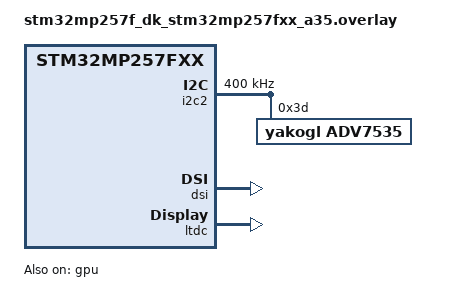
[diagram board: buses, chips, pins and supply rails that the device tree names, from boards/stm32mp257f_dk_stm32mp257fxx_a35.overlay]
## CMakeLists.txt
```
# SPDX-License-Identifier: Apache-2.0
# SPDX-FileCopyrightText: 2026 Signal Slot, Inc.
# mp2_gpu_scanout: the STM32MP257F-DK's GPU-rendered frame on its HDMI
# (README.md). gc_triangle's clear, triangle and three-apex read-back at the
# display mode's size, the resolve engine's copy into a linear XRGB8888
# buffer, and that buffer as the LTDC's layer (LTDC -> DSI -> ADV7535 -> HDMI).
#
#   west build -p always -b stm32mp257f_dk/stm32mp257fxx/a35 -d build/mp2_gpu_scanout \
#     tools/probes/stm32mp257f_dk/mp2_gpu_scanout
cmake_minimum_required(VERSION 3.20.0)

# driver/ is a Zephyr module (the SoC, the board, the board layer, the GPU
# and display drivers). The overlay boards/stm32mp257f_dk_stm32mp257fxx_a35.overlay
# is picked up by name.
get_filename_component(PVR_REPO "${CMAKE_CURRENT_SOURCE_DIR}/../../../../driver" ABSOLUTE)
list(APPEND ZEPHYR_EXTRA_MODULES "${PVR_REPO}")

find_package(Zephyr REQUIRED HINTS $ENV{ZEPHYR_BASE})
project(mp2_gpu_scanout)

# The build prints its own commit first (a result row names its build).
execute_process(COMMAND git -C "${PVR_REPO}" describe --always --dirty
                OUTPUT_VARIABLE MP2_GPU_SCANOUT_BUILD OUTPUT_STRIP_TRAILING_WHITESPACE
                ERROR_QUIET RESULT_VARIABLE describe_rc)
if(NOT describe_rc EQUAL 0 OR MP2_GPU_SCANOUT_BUILD STREQUAL "")
  set(MP2_GPU_SCANOUT_BUILD "unknown")
endif()
target_compile_definitions(app PRIVATE MP2_GPU_SCANOUT_BUILD="${MP2_GPU_SCANOUT_BUILD}")
message(STATUS "mp2_gpu_scanout build: ${MP2_GPU_SCANOUT_BUILD}")

# The GPU driver (src/vivante behind gpu_vivante_gc_rust.c) comes with the
# overlay's &gpu; the display chain with its ltdc, dsi, i2c2 and adv7535.
if(NOT CONFIG_YAKOGL_DRV_GPU_VIVANTE)
  message(FATAL_ERROR "mp2_gpu_scanout: CONFIG_YAKOGL_DRV_GPU_VIVANTE is off (no vivante,gc node)")
endif()
if(NOT CONFIG_YAKOGL_STM32MP2_DISPLAY)
  message(FATAL_ERROR "mp2_gpu_scanout: CONFIG_YAKOGL_STM32MP2_DISPLAY is off (the display path is not powered)")
endif()

target_sources(app PRIVATE src/main.c)

# Zero warnings in our C files with -DYAKOGL_WERROR=ON; off by default.
if(YAKOGL_WERROR)
  target_compile_options(app PRIVATE -Werror)
endif()
```

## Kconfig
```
# SPDX-License-Identifier: Apache-2.0
# SPDX-FileCopyrightText: 2026 Signal Slot, Inc.

config MP2_GPU_SCANOUT_HOLD_S
	int "Seconds the picture is held after the verdict line"
	default 60
	range 0 600
	help
	  After the PASS or FAIL line the probe keeps the scan-out running this
	  long before main() returns, so the runner's MP2_HOLD_S and the KVM
	  can see the picture. The board layer's lifetime
	  (CONFIG_YAKOGL_STM32MP2_LIFETIME_S) must cover it.

config MP2_GPU_SCANOUT_WAIT_MS
	int "Bound on the wait for each GPU fence, ms"
	default 1000
	range 1 10000
	help
	  gc_render_wait()'s bound, as gc_triangle's GC_TRIANGLE_WAIT_MS.
	  Past it the render service dumps the GPU's state and the run fails.

source "Kconfig.zephyr"
```

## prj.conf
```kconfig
# SPDX-License-Identifier: Apache-2.0
# SPDX-FileCopyrightText: 2026 Signal Slot, Inc.
# The board defconfig has the console; the board layer (stm32mp2.c) prints
# the banner and the hand-over record and resets through PSCI at the end;
# stm32mp2_wdog.c arms OP-TEE's watchdog at boot and pets it.
CONFIG_PRINTK=y
CONFIG_EARLY_CONSOLE=y
CONFIG_LOG=y
CONFIG_LOG_MODE_MINIMAL=y
CONFIG_CACHE_MANAGEMENT=y
CONFIG_YAKOGL_STM32MP2_WDOG=y

# The GPU: the Vivante driver on the overlay's &gpu, powered by the board
# layer (gc_power_mp2.c), as the board layer's app.conf has it for
# gc_triangle. FPU sharing off for the reason app.conf gives (printk from an
# interrupt handler with the FPU disabled in exception context).
CONFIG_YAKOGL_DRV_GPU_VIVANTE=y
CONFIG_FPU_SHARING=n

# The display path: the four drivers are enabled by the overlay's nodes.
CONFIG_DISPLAY=y
CONFIG_I2C=y
CONFIG_MIPI_DSI=y
CONFIG_GPIO=y

# A thread that overruns its stack is named at its next context switch
# ("Stack sentinel"), not later as a corrupted neighbour: board-display2's
# EC 0xe after "adv7535: chip revision 0x14" was the main stack running into
# the idle thread's initial frame (the board layer's MAIN_STACK_SIZE default,
# driver/zephyr/lib/board/stm32mp2/Kconfig).
CONFIG_STACK_SENTINEL=y

# The layer resets the board this long after boot; the probe holds the
# picture CONFIG_MP2_GPU_SCANOUT_HOLD_S (60) after its verdict, so it must be
# well beyond that.
CONFIG_YAKOGL_STM32MP2_LIFETIME_S=150
```

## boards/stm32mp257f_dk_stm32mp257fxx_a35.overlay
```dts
/*
 * SPDX-License-Identifier: Apache-2.0
 * SPDX-FileCopyrightText: 2026 Signal Slot, Inc.
 *
 * mp2_gpu_scanout: the GPU and the DK's display path. The display nodes are
 * mp2_display's overlay unchanged (LTDC -> DSI -> ADV7535 -> HDMI as yakogl
 * devices); &gpu is the board layer's app.overlay for gc_triangle
 * (driver/zephyr/lib/board/stm32mp2/app.overlay). The probe's own overlay:
 * the board and SoC files stay without it.
 *
 *   &gpu     the SoC's vivante,gc node (0x48280000, SPI 183) with the
 *            board's 64 MiB no-map gpu-reserved carveout at 0xfa800000
 *            (RISAF4 region 10, non-secure, CID0/1 r/w): the scanned-out
 *            buffer is allocated there (gc_render_alloc), not in ltdc_fb
 *   &i2c2   stm32mp251.dtsi:935-936 (0x40130000), the bus of the bridge
 *            (stm32mp257f-dk.dts:395)
 *   adv7535  stm32mp257f-dk.dts:428-433: reg 0x3d with the secondary maps
 *            0x3f (edid), 0x3c (cec), 0x38 (packet), four DSI lanes
 *   dsi      stm32mp255.dtsi:123-133 (0x48000000), its output to the bridge
 *            (stm32mp257f-dk.dts:328-350)
 *   ltdc     stm32mp251.dtsi:2150 (0x48010000), its output to the DSI
 *            (stm32mp257f-dk.dts:536-547)
 *   ltdc_fb  the frame buffer, 0xb0000000, 32 MiB no-map: past the image's
 *            load end, inside RISAF4 region 9 (non-secure, CID0/1 r/w),
 *            below 4 GiB (docs/notes/stm32mp257f-dk-display-bringup.md,
 *            "Where the image lives and the proposed framebuffer"); the
 *            driver's own buffer, scanned out until the probe flips to the
 *            GPU's (stm32_ltdc_set_fb)
 *
 * The clocks are what the board layer's power-on sets and reads back
 * (display_power_mp2.c over soc::stm32mp2::display): ck_ker_i2c2 is
 * FLEXGEN_12 at 100 MHz, the DSI PHY reference FLEXGEN_28 at 27 MHz, the
 * LTDC's pixel clock FLEXGEN_27 at the chosen mode's rate.
 *
 * Left out, on purpose:
 *   - the bridge's INT (GPIO B4) and reset (GPIO B6) lines
 *     (stm32mp257f-dk.dts:436-438): the board layer configures both pins and
 *     pulses the reset; no GPIO controller in this tree, the HPD is read
 *     from the chip.
 *   - interrupts of the LTDC (frames and flips are polled).
 */

/ {
	chosen {
		yakogl,ltdc-fb = &ltdc_fb;
	};

	reserved-memory {
		ltdc_fb: framebuffer@b0000000 {
			reg = <0xb0000000 DT_SIZE_M(32)>;
			no-map;
		};
	};

	soc {
		i2c2: i2c@40130000 {
			compatible = "yakogl,stm32mp2-i2c";
			reg = <0x40130000 0x400>;
			#address-cells = <1>;
			#size-cells = <0>;
			clock-frequency = <400000>;
			kernel-clock-frequency = <100000000>;
			status = "okay";

			adv7535: hdmi@3d {
				compatible = "yakogl,adv7535";
				reg = <0x3d>;
				edid-reg = <0x3f>;
				cec-reg = <0x3c>;
				packet-reg = <0x38>;
				adi,dsi-lanes = <4>;
				status = "okay";
			};
		};

		dsi: dsi@48000000 {
			compatible = "yakogl,stm32-dsi";
			reg = <0x48000000 0x800>;
			data-lanes = <4>;
			bridge = <&adv7535>;
			pll-ref-frequency = <27000000>;
			/* the LTDC driver sets the chosen mode's (stm32_dsi_set_mode) */
			pixel-clock-frequency = <148500000>;
			status = "okay";
		};

		/* hactive x vactive: the largest mode the driver may choose,
		 * 1920x1080@60 when the EDID prefers it, else 1280x720@60; one
		 * 1080p XRGB8888 frame (pitch 7680) fits fb-size. */
		ltdc: display-controller@48010000 {
			compatible = "yakogl,stm32-ltdc";
			reg = <0x48010000 0x400>;
			hactive = <1920>;
			vactive = <1080>;
			pixel-format = "argb8888";
			fb-size = <0x800000>;
			dsi-host = <&dsi>;
			status = "okay";
		};
	};
};

/* The GPU, as the board layer's app.overlay has it for gc_triangle: the core
 * clock's rate only sizes the front end's idle-loop WAIT. */
&gpu {
	clock-frequency = <800000000>;
	status = "okay";
};
```

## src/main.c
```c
/* SPDX-License-Identifier: Apache-2.0 */
/* SPDX-FileCopyrightText: 2026 Signal Slot, Inc. */
/*
 * mp2_gpu_scanout: a GPU-rendered frame on the DK's HDMI. gc_triangle's
 * bring-up and draw (driver/samples/zephyr/gc_triangle: the GPU device,
 * gc_render_init, gc_draw_clear to 0x00102030, one Gouraud triangle, the
 * three-apex CPU read-back), at the display mode's size, then its "linear
 * scan-out copy" (gc_draw_copy, the resolve engine) into a linear XRGB8888
 * buffer from gc_render_alloc, and that buffer as the LTDC's layer.
 *
 * The order:
 *   1. the LTDC device (display_yakogl_stm32_ltdc.c, the chain owner)
 *      chooses the mode (display_get_capabilities: HPD and EDID through the
 *      ADV7535; 1920x1080@60 when the EDID prefers it, else 1280x720@60);
 *   2. the GPU draws a W x H target (the mode's size), the CPU checks it
 *      (gc_triangle's lines);
 *   3. the resolve engine copies it into the scan-out buffer, W x H at
 *      ROUND_UP(W * 4, 64), 4096-aligned in the GPU carveout, and the same
 *      checks run on the copy, with every pixel compared to the target;
 *   4. the buffer's range is cleaned (gc_render_cache_flush), its physical
 *      range checked against the LTDC's RIF/RISAF (stm32_ltdc_board_fb_check),
 *      the chain brought up (display_blanking_off: LTDC, DSI, ADV7535) and the
 *      layer flipped to bo.phys (stm32_ltdc_set_fb, which waits for the
 *      reload);
 *   5. the scan-out check (stm32_ltdc_scanout_check) over
 *      MP2_GPU_SCANOUT_FRAMES frames: that many frame events (ISR.LIF or the
 *      CPSR wrap), the layer's address (the GPU buffer's bo.phys) and enable
 *      read back after the reload and after the last frame, and no FUWIF,
 *      FUIF, TERRIF or FURIF in any event's ISR. Its record is always
 *      printed ("mp2_gpu_scanout: scanout: ..."; "errors: unobservable" when
 *      no RRIF came after the control reload: not a failure) and a failed
 *      check prints "scanout: check frames|layer|errors|control failed" and
 *      FAIL step scanout-frames|-layer|-errors|-control;
 *   6. the LTDC's frame CRC, a logged diagnostic only
 *      (stm32_ltdc_crc_enable, stm32_ltdc_frame_crc_event): "mp2_gpu_scanout:
 *      crc: <what> 0x<crc> line <cypos> via <wrap|lif>" for four reads of the
 *      unchanged buffer, one with the corner pixel (0,0) inverted (cleaned to
 *      memory), one restored, then "crc: diagnostic: stable <y|n> changed
 *      <y|n> restored <y|n>" or "crc: unavailable" (-ENODEV). It gates
 *      nothing: the CRC did not follow the picture on this path (the note's
 *      "CRC and frame wait").
 *
 * Why the format and the address need no conversion: the PE's X8R8G8B8 is
 * the word 0x00RRGGBB, the LTDC's format 0 (ARGB8888, constant alpha) reads
 * it unchanged, the pitch is the LTDC driver's (64-byte aligned), and bo.phys
 * is in RISAF4 region 10, below 4 GiB (docs/notes/stm32mp257f-dk-display-
 * bringup.md, "GPU buffer format" and "Cache maintenance" (3)).
 *
 * The verdict, in tools/board-stm32mp2.sh's "<prog>: PASS|FAIL: " shape:
 *   mp2_gpu_scanout: PASS: <w>x<h> pitch <p> phys 0x... <n> frames
 *   mp2_gpu_scanout: FAIL: <reason> [<err>]
 * PASS only when the read-back succeeded, the flip read back the scanned
 * address and the scan-out check returned 0 with no failed bit. Then the
 * scan-out is kept CONFIG_MP2_GPU_SCANOUT_HOLD_S seconds (one frame checked a
 * second) for the runner's MP2_HOLD_S and the KVM. The board layer
 * (stm32mp2.c) resets the board through PSCI at its lifetime.
 *
 * Only the CPU reads pixels: the GPU's 0x800+ state space is never read
 * (driver/docs/vivante-kernel-rust.md).
 */
#include <zephyr/kernel.h>
#include <zephyr/device.h>
#include <zephyr/devicetree.h>
#include <zephyr/drivers/display.h>
#include <zephyr/sys/printk.h>
#include <zephyr/sys/util.h>
#include <errno.h>

#include <yakogl_mp25_display.h>
#include <yakogl_drv/adv7535.h>
#include <yakogl_drv/stm32_dsi.h>
#include <yakogl_drv/stm32_ltdc.h>

#include <gc.h>
#include <gc_render.h>
#include <gc_draw.h>

#define NAME "mp2_gpu_scanout"

#define LTDC_NODE DT_NODELABEL(ltdc)
#define DSI_NODE  DT_PHANDLE(LTDC_NODE, dsi_host)
#define ADV_NODE  DT_PHANDLE(DSI_NODE, bridge)

BUILD_ASSERT(DT_NODE_HAS_STATUS_OKAY(LTDC_NODE), "the overlay enables the ltdc node");
BUILD_ASSERT(CONFIG_MP2_GPU_SCANOUT_HOLD_S + 30 < CONFIG_YAKOGL_STM32MP2_LIFETIME_S,
	     "the board layer's lifetime covers the draw and the hold");

/* Frame events the scan-out check must count before PASS: one second at 60 Hz. */
#define MP2_GPU_SCANOUT_FRAMES 60

/* gc_triangle's picture and checks (driver/samples/zephyr/gc_triangle/src/main.c). */
#define GUARD_ROWS 2u
#define POISON 0x00a55a3cu
#define BACKGROUND 0x00102030u
#define INSET 0.10f
#define EDGE_MARGIN 3
#define AREA_TOLERANCE 0.20f
#define DOMINANT_MIN 0xc0u
#define OTHER_MAX 0x40u
/* The pixel engine's and the LTDC driver's line alignment. */
#define PITCH_ALIGN 64u
/* gc_triangle's allocation of the scan-out buffer. */
#define OUT_ALIGN 4096u

/* gc_triangle's triangle in clip space (x right, y up): red at the top,
 * green bottom left, blue bottom right. Full screen, it lands at (0.5, 0.1),
 * (0.1, 0.9), (0.9, 0.9) of the width and height. */
static const struct gc_vertex s_tri[3] = {
	{ .pos = { 0.0f, 0.8f, 0.0f, 1.0f }, .color = { 1.0f, 0.0f, 0.0f, 1.0f } },
	{ .pos = { -0.8f, -0.8f, 0.0f, 1.0f }, .color = { 0.0f, 1.0f, 0.0f, 1.0f } },
	{ .pos = { 0.8f, -0.8f, 0.0f, 1.0f }, .color = { 0.0f, 0.0f, 1.0f, 1.0f } },
};

/* The drawn window: the mode's size, both buffers. */
static uint32_t s_w, s_h;
static struct gc_target s_target;

static int fail(const char *reason, int err)
{
	printk(NAME ": FAIL: %s %d\n", reason, err);
	return err != 0 ? err : -EIO;
}

static int wait_fence(uint32_t fence)
{
	int rc = gc_render_wait(fence, CONFIG_MP2_GPU_SCANOUT_WAIT_MS);

	if (rc) {
		gc_render_stall_dump(NAME " failed");
	}
	return rc;
}

static float px_x(float cx)
{
	return (cx + 1.0f) * 0.5f * (float)s_w;
}

static float px_y(float cy)
{
	return (1.0f - cy) * 0.5f * (float)s_h;
}

static uint32_t chan(uint32_t rgb, unsigned int shift)
{
	return (rgb >> shift) & 0xffu;
}

/* gc_triangle's check_apex: the pixel `own` (0 red, 1 green, 2 blue) is
 * dominated by its own channel. Returns 1 when it fails. */
static int check_apex(const struct gc_target *t, const char *pfx, const char *what,
		      unsigned int own, float x, float y)
{
	uint32_t px = (uint32_t)CLAMP((int)x, 0, (int)s_w - 1);
	uint32_t py = (uint32_t)CLAMP((int)y, 0, (int)s_h - 1);
	uint32_t v = gc_target_pixel(t, px, py);
	uint32_t mine = chan(v, 16u - 8u * own);
	bool ok = mine >= DOMINANT_MIN;

	for (unsigned int c = 0; c < 3u; c++) {
		if (c != own && chan(v, 16u - 8u * c) > OTHER_MAX) {
			ok = false;
		}
	}
	printk(NAME ": %s%-10s %s (%u,%u) = %08x\n", pfx, what, ok ? "PASS" : "FAIL", px, py,
	       (v << 8) | 0xffu);
	return ok ? 0 : 1;
}

/* gc_triangle's check_picture over the s_w x s_h window of `t` and `rows`
 * rows (the guard rows after it must hold the poison). Returns the failing
 * checks; *covered_out the pixels that differ from the background. */
static uint32_t check_picture(const struct gc_target *t, uint32_t rows, const char *pfx,
			      uint32_t *covered_out)
{
	uint32_t failing = 0, covered = 0, outside_wrong = 0;
	const float rx = px_x(s_tri[0].pos[0]), ry = px_y(s_tri[0].pos[1]);
	const float gx = px_x(s_tri[1].pos[0]), gy = px_y(s_tri[1].pos[1]);
	const float bx = px_x(s_tri[2].pos[0]), by = px_y(s_tri[2].pos[1]);
	const float cx = (rx + gx + bx) / 3.0f, cy = (ry + gy + by) / 3.0f;

	failing += check_apex(t, pfx, "red apex", 0, rx + (cx - rx) * INSET,
			      ry + (cy - ry) * INSET);
	failing += check_apex(t, pfx, "green left", 1, gx + (cx - gx) * INSET,
			      gy + (cy - gy) * INSET);
	failing += check_apex(t, pfx, "blue right", 2, bx + (cx - bx) * INSET,
			      by + (cy - by) * INSET);

	const int x0 = (int)gx - EDGE_MARGIN, x1 = (int)bx + EDGE_MARGIN;
	const int y0 = (int)ry - EDGE_MARGIN, y1 = (int)gy + EDGE_MARGIN;
	uint32_t first_x = 0, first_y = 0, first_v = 0;

	for (uint32_t y = 0; y < rows; y++) {
		const volatile uint32_t *r =
			(const volatile uint32_t *)((uint8_t *)t->cpu + (size_t)y * t->stride);

		for (uint32_t x = 0; x < s_w; x++) {
			uint32_t v = r[x] & 0x00ffffffu;
			bool drawn = y < s_h;
			bool must_be_bg = drawn && ((int)x < x0 || (int)x > x1 || (int)y < y0 ||
						    (int)y > y1);

			if (drawn && v != BACKGROUND) {
				covered++;
			}
			if ((!drawn && v != POISON) || (must_be_bg && v != BACKGROUND)) {
				if (outside_wrong == 0u) {
					first_x = x;
					first_y = y;
					first_v = v;
				}
				outside_wrong++;
			}
		}
	}
	if (outside_wrong != 0u) {
		printk(NAME ": %soutside     FAIL (%u,%u) = %06x (%u wrong pixels)\n", pfx,
		       first_x, first_y, first_v, outside_wrong);
		failing++;
	} else {
		printk(NAME ": %soutside     PASS (background kept outside the box and in the guard rows)\n",
		       pfx);
	}

	float area = 0.5f * (bx - gx) * (gy - ry);
	float lo = area * (1.0f - AREA_TOLERANCE), hi = area * (1.0f + AREA_TOLERANCE);
	bool area_ok = (float)covered >= lo && (float)covered <= hi;

	printk(NAME ": %scovered     %s %u pixels (%u..%u expected)\n", pfx,
	       area_ok ? "PASS" : "FAIL", covered, (uint32_t)lo, (uint32_t)hi);
	if (!area_ok) {
		failing++;
	}
	*covered_out = covered;
	return failing;
}

/* Poison `rows` rows of `t` from row `from`, then clean them to DDR. */
static void poison_rows(const struct gc_target *t, uint32_t from, uint32_t rows)
{
	for (uint32_t y = from; y < from + rows; y++) {
		volatile uint32_t *r =
			(volatile uint32_t *)((uint8_t *)t->cpu + (size_t)y * t->stride);

		for (uint32_t x = 0; x < t->stride / 4u; x++) {
			r[x] = POISON;
		}
	}
	gc_render_cache_flush((uint8_t *)t->cpu + (size_t)from * t->stride,
			      (size_t)rows * t->stride);
}

/*
 * The GPU half: gc_triangle's bring-up, clear, triangle and read-back into
 * s_target, then its linear copy into *out (from gc_render_alloc, s_w x s_h
 * at `pitch`, two poisoned guard rows after it) and the checks on the copy.
 * 0 when every check passed, else the negative errno after the FAIL line.
 */
static int render(uint32_t pitch, struct gc_target *out, struct gc_bo *out_bo)
{
	const struct device *gpu = DEVICE_DT_GET_ONE(vivante_gc);
	const struct gc_identity *id;
	const size_t tbytes = (size_t)pitch * (s_h + GUARD_ROWS);
	struct gc_bo bo;
	uint32_t fence = 0, failing, covered = 0, differ = 0;
	int rc;

	if (!device_is_ready(gpu) || !gc_alive(gpu)) {
		return fail("gpu-device", -ENODEV);
	}
	id = gc_identity(gpu);
	printk(NAME ": GPU model 0x%x revision 0x%x product 0x%x customer 0x%x eco %u%s\n",
	       id->model, id->revision, id->product_id, id->customer_id, id->eco_id,
	       id->from_table ? " (features from the table)" : "");
	rc = gc_render_init(gpu);
	if (rc) {
		return fail("gpu-render-init", rc);
	}

	/* The render target, the mode's size, linear at the pixel engine's
	 * 64-byte stride, with gc_triangle's guard rows. */
	rc = gc_render_alloc(tbytes, 64, &bo);
	if (rc == 0 && bo.cpu == NULL) {
		rc = -EFAULT;
	}
	if (rc) {
		return fail("gpu-alloc", rc);
	}
	s_target = (struct gc_target){
		.gpu = bo.gpu, .width = s_w, .height = s_h, .stride = pitch, .cpu = bo.cpu,
	};
	printk(NAME ": target %ux%u stride %u at GPU 0x%08x\n", s_w, s_h, pitch, s_target.gpu);
	poison_rows(&s_target, s_h, GUARD_ROWS);

	rc = gc_draw_clear(&s_target, BACKGROUND, &fence);
	if (rc) {
		return fail("gpu-clear", rc);
	}
	rc = wait_fence(fence);
	if (rc) {
		return fail("gpu-wait-clear", rc);
	}
	rc = gc_draw_triangle(&s_target, s_tri, &fence);
	if (rc) {
		return fail("gpu-triangle", rc);
	}
	rc = wait_fence(fence);
	if (rc) {
		return fail("gpu-wait-triangle", rc);
	}
	gc_render_cache_invd(s_target.cpu, tbytes);
	failing = check_picture(&s_target, s_h + GUARD_ROWS, "", &covered);

	/* gc_triangle's linear scan-out copy, at the same size: the buffer the
	 * LTDC scans. Poisoned first, so a pixel the copy missed shows. */
	rc = gc_render_alloc(tbytes, OUT_ALIGN, out_bo);
	if (rc == 0 && out_bo->cpu == NULL) {
		rc = -EFAULT;
	}
	if (rc) {
		return fail("linear-alloc", rc);
	}
	*out = (struct gc_target){
		.gpu = out_bo->gpu, .width = s_w, .height = s_h, .stride = pitch,
		.cpu = out_bo->cpu,
	};
	poison_rows(out, 0, s_h + GUARD_ROWS);
	rc = gc_draw_copy(&s_target, out, &fence);
	if (rc) {
		return fail("linear-copy", rc);
	}
	rc = wait_fence(fence);
	if (rc) {
		return fail("linear-wait", rc);
	}
	gc_render_cache_invd(out->cpu, tbytes);
	failing += check_picture(out, s_h + GUARD_ROWS, "linear: ", &covered);
	for (uint32_t y = 0; y < s_h; y++) {
		const volatile uint32_t *s =
			(const volatile uint32_t *)((uint8_t *)s_target.cpu + (size_t)y * pitch);
		const volatile uint32_t *d =
			(const volatile uint32_t *)((uint8_t *)out->cpu + (size_t)y * pitch);

		for (uint32_t x = 0; x < s_w; x++) {
			differ += ((s[x] ^ d[x]) & 0x00ffffffu) != 0u;
		}
	}
	printk(NAME ": linear: copy       %s (%u of %ux%u pixels differ from the target)\n",
	       differ == 0u ? "PASS" : "FAIL", differ, s_w, s_h);
	if (differ != 0u) {
		failing++;
	}
	printk(NAME ": linear: %s %ux%u pitch %u at GPU 0x%08x phys 0x%llx (%u failing checks)\n",
	       failing == 0u ? "PASS" : "FAIL", s_w, s_h, pitch, out->gpu,
	       (unsigned long long)out_bo->phys, failing);
	if (failing != 0u) {
		printk(NAME ": FAIL: readback (%u failing checks)\n", failing);
		return -EIO;
	}
	return 0;
}

static const char *const step_names[] = {
	"none", "board", "fb", "adv-init", "mode", "clock", "ltdc-probe", "ltdc-configure",
	"ltdc-enable", "dsi-mode", "dsi", "adv-start", "frame", "i2c",
};

static const char *step_name(uint32_t step)
{
	return step < ARRAY_SIZE(step_names) ? step_names[step] : "?";
}

/* mp2_display's record of the chain. */
static void print_record(const struct stm32_ltdc_status *st)
{
	const struct yd_mp25_dsi_data *dd = stm32_dsi_data(DEVICE_DT_GET(DSI_NODE));
	const struct yd_mp25_adv7535_data *ad = adv7535_data(DEVICE_DT_GET(ADV_NODE));
	const struct yd_mp25_mode *m = &st->mode;

	printk(NAME ": chain step %s err %d, hpd %u, edid %u (header %02x %02x, ext %u), "
	       "choice %d\n",
	       step_name(st->step), (int)st->err, st->hpd, st->edid_ok, st->edid[0], st->edid[1],
	       st->edid[126], (int)st->choice);
	printk(NAME ": mode %ux%u %u Hz h %u/%u/%u v %u/%u/%u flags 0x%x, %s vic %u\n",
	       m->hactive, m->vactive, m->pixel_clock_hz, m->hfront, m->hsync, m->hback,
	       m->vfront, m->vsync, m->vback, m->flags, st->sink.hdmi ? "hdmi" : "dvi",
	       st->sink.vic);
	printk(NAME ": ltdc hwver 0x%06x bus %u layers %u on %u, pitch %u, fb 0x%llx, "
	       "clock %u Hz\n",
	       st->ltdc.hwver, st->ltdc.bus_bytes, st->ltdc.layers, st->ltdc.on, st->pitch,
	       (unsigned long long)st->fb_phys, st->pixel_clock_hz);
	if (st->frame_diag_ok) {
		const struct yd_mp25_ltdc_diag *g = &st->frame_diag;

		printk(NAME ": ltdc at frame timeout: isr 0x%08x ier 0x%08x cpsr 0x%08x 0x%08x (1 ms) "
		       "cdsr 0x%08x gcr 0x%08x l1rcr 0x%08x\n",
		       g->isr, g->ier, g->cpsr0, g->cpsr1, g->cdsr, g->gcr, g->rcr);
	}
	if (dd != NULL) {
		printk(NAME ": dsi on %u lanes %u lane %u kbit/s, failed step %u errno %d\n",
		       dd->on, dd->lanes, dd->lane_kbps, dd->failed_step, (int)dd->failed_errno);
	}
	if (ad != NULL) {
		printk(NAME ": adv7535 rev 0x%02x hpd %u started %u\n", ad->revision, ad->hpd,
		       ad->started);
	}
}

/* The scan-out check's record, always printed (whatever it said), then each
 * failed check by name. Returns 0 only when the FFI said 0 and no check bit
 * is set: the one place PASS comes from. *name is the first failed check, for
 * the FAIL line; *seen the frames counted. */
static int scanout_verdict(const struct device *dev, uint32_t frames, const char **name,
			   uint32_t *seen)
{
	struct yd_mp25_ltdc_scanout o = {0};
	int rc = stm32_ltdc_scanout_check(dev, frames, &o);

	printk(NAME ": scanout: frames %u/%u (lif %u wrap %u) max wait %u us, layer fb 0x%08x "
	       "want 0x%08x lxcr 0x%08x gcr 0x%08x ok %u/%u, lipcr 0x%x want 0x%x ier 0x%08x\n",
	       o.frames, o.frames_wanted, o.frames_lif, o.frames_wrap, o.max_wait_us, o.cfbar,
	       o.cfbar_want, o.lxcr, o.gcr, o.layer_ok_before, o.layer_ok_after, o.lipcr,
	       o.lipcr_want, o.ier);
	printk(NAME ": scanout: isr_or 0x%08x fuwif %u fuif %u terrif %u furif %u crcif %u, "
	       "failed 0x%x rrif_seen %u rc %d\n",
	       o.isr_or, o.fuwif, o.fuif, o.terrif, o.furif, o.crcif, o.failed, o.rrif_seen, rc);
	if (!o.rrif_seen) {
		printk(NAME ": scanout: errors: unobservable (no RRIF after the control reload)\n");
	}
	*seen = o.frames;
	*name = NULL;
	if ((o.failed & YD_MP25_SCANOUT_FAIL_FRAMES) != 0u) {
		printk(NAME ": scanout: check frames failed (%u of %u)\n", o.frames,
		       o.frames_wanted);
		*name = "scanout-frames";
	}
	if ((o.failed & YD_MP25_SCANOUT_FAIL_LAYER) != 0u) {
		printk(NAME ": scanout: check layer failed (address or enable read back wrong)\n");
		if (*name == NULL) {
			*name = "scanout-layer";
		}
	}
	if ((o.failed & YD_MP25_SCANOUT_FAIL_ERRORS) != 0u) {
		printk(NAME ": scanout: check errors failed (FIFO underrun or transfer error)\n");
		if (*name == NULL) {
			*name = "scanout-errors";
		}
	}
	if (rc != 0 && *name == NULL) {
		printk(NAME ": scanout: check control failed (the RRIF control reload)\n");
		*name = "scanout-control";
	}
	if (rc == 0 && *name != NULL) {
		rc = -EIO; /* a failed bit decides as well as the return value */
	}
	return rc;
}

#define CRC_READS 4

/* A diagnostic only: it prints and decides nothing. */
static int crc_read(const struct device *dev, const char *what, uint32_t *crc)
{
	struct yd_mp25_ltdc_frame ev;
	int err = stm32_ltdc_frame_crc_event(dev, &ev);

	if (err == 0) {
		*crc = ev.crc;
		printk(NAME ": crc: %s 0x%08x line %u via %s\n", what, ev.crc, ev.line,
		       ev.via == YD_MP25_LTDC_VIA_LIF ? "lif" : "wrap");
	} else {
		printk(NAME ": crc: %s read %d\n", what, err);
	}
	return err;
}

static bool crc_unavailable(int err)
{
	return err == -ENODEV || err == -ENOTSUP || err == -ENOSYS;
}

/* The CRC as a diagnostic: corner pixel (0,0) of the scanned buffer inverted
 * and restored, cleaned to memory each time like the render's flush. Prints;
 * nothing is returned. */
static void crc_diag(const struct device *dev, struct gc_target *buf)
{
	volatile uint32_t *px = (volatile uint32_t *)buf->cpu;
	uint32_t base = 0, c = 0, changed = 0, restored = 0, orig = *px, isr = 0;
	bool stable = true, ch_ok, rs_ok;
	int err;

	err = stm32_ltdc_crc_enable(dev, true);
	if (err == 0) {
		err = crc_read(dev, "base", &base);
	}
	if (crc_unavailable(err)) {
		printk(NAME ": crc: unavailable\n");
		return;
	}
	if (err) {
		printk(NAME ": crc: diagnostic: no value (%d)\n", err);
		return;
	}
	for (int i = 1; i < CRC_READS; i++) {
		if (crc_read(dev, "again", &c) == 0 && c != base) {
			stable = false;
		}
	}

	*px = orig ^ 0x00ffffffu;
	gc_render_cache_flush(buf->cpu, 64);
	(void)stm32_ltdc_wait_frame(dev, &isr);
	ch_ok = crc_read(dev, "changed", &changed) == 0 && changed != base;
	*px = orig;
	gc_render_cache_flush(buf->cpu, 64);
	(void)stm32_ltdc_wait_frame(dev, &isr);
	rs_ok = crc_read(dev, "restored", &restored) == 0 && restored == base;
	printk(NAME ": crc: diagnostic: stable %c changed %c restored %c\n", stable ? 'y' : 'n',
	       ch_ok ? 'y' : 'n', rs_ok ? 'y' : 'n');
	(void)stm32_ltdc_crc_enable(dev, false);
}

/* The whole run; 0 on PASS (the line printed), else the FAIL line's errno. */
static int run(const struct device *dev)
{
	const struct device *dsi = DEVICE_DT_GET(DSI_NODE);
	const struct device *adv = DEVICE_DT_GET(ADV_NODE);
	const struct stm32_ltdc_status *st;
	const struct yd_mp25_dsi_data *dd;
	const struct yd_mp25_adv7535_data *ad;
	struct display_capabilities caps;
	struct gc_target out;
	struct gc_bo out_bo;
	const char *check = NULL;
	uint32_t pitch, seen = 0;
	size_t bytes;
	int frames, rc;

	/* 1. The mode. */
	if (!device_is_ready(dev)) {
		return fail("ltdc-ready", -ENODEV);
	}
	st = stm32_ltdc_status(dev);
	display_get_capabilities(dev, &caps);
	if (caps.x_resolution == 0u || caps.y_resolution == 0u) {
		print_record(st);
		return fail(step_name(st->step), st->err != 0 ? st->err : -EIO);
	}
	if (caps.current_pixel_format != PIXEL_FORMAT_ARGB_8888) {
		return fail("format", -ENOTSUP);
	}
	s_w = caps.x_resolution;
	s_h = caps.y_resolution;
	pitch = ROUND_UP(s_w * 4u, PITCH_ALIGN);
	/* The flip keeps the chain's pitch: the GPU's buffer must have it. */
	if (st->pitch != pitch) {
		printk(NAME ": the LTDC's pitch %u is not the GPU buffer's %u\n", st->pitch, pitch);
		return fail("pitch", -EINVAL);
	}
	/* The resolve engine: widths in multiples of 16, heights of 4. */
	if (s_w % 16u != 0u || s_h % 4u != 0u) {
		return fail("size", -EINVAL);
	}
	printk(NAME ": mode %ux%u, buffer pitch %u\n", s_w, s_h, pitch);

	/* 2, 3. The GPU's frame and its read-back. */
	rc = render(pitch, &out, &out_bo);
	if (rc) {
		return rc;
	}

	/* 4. The scan-out: the CPU's lines of the buffer cleaned (it only read
	 * them since the invalidate, so this is the note's rule kept, not a
	 * write-back), the range allowed for the LTDC, the chain up, the layer
	 * flipped to the GPU's buffer. */
	bytes = (size_t)pitch * s_h;
	gc_render_cache_flush(out.cpu, bytes);
	rc = stm32_ltdc_board_fb_check(out_bo.phys, bytes);
	if (rc) {
		return fail("fb-check", rc);
	}
	rc = display_blanking_off(dev);
	print_record(st);
	if (rc) {
		return fail(step_name(st->step), rc);
	}
	dd = stm32_dsi_data(dsi);
	ad = adv7535_data(adv);
	if (!st->on || !st->ltdc.on || dd == NULL || !dd->on || ad == NULL || !ad->started) {
		return fail("chain", -EIO);
	}
	rc = stm32_ltdc_set_fb(dev, out_bo.phys);
	if (rc) {
		return fail("set-fb", rc);
	}
	if (st->fb_phys != out_bo.phys) {
		printk(NAME ": the LTDC scans 0x%llx, not 0x%llx\n",
		       (unsigned long long)st->fb_phys, (unsigned long long)out_bo.phys);
		return fail("set-fb", -EIO);
	}
	printk(NAME ": layer at phys 0x%llx (GPU 0x%08x)\n", (unsigned long long)out_bo.phys,
	       out.gpu);

	/* 5. The scan-out check: PASS rests on it and on nothing else. */
	rc = scanout_verdict(dev, MP2_GPU_SCANOUT_FRAMES, &check, &seen);
	frames = (int)seen;
	/* 6. The CRC, logged. */
	crc_diag(dev, &out);
	if (rc) {
		return fail(check != NULL ? check : "scanout", rc);
	}
	printk(NAME ": PASS: %ux%u pitch %u phys 0x%llx %d frames\n", s_w, s_h, pitch,
	       (unsigned long long)out_bo.phys, frames);
	return 0;
}

int main(void)
{
	const struct device *dev = DEVICE_DT_GET(LTDC_NODE);
	const struct stm32_ltdc_status *st;
	int good = 0, bad = 0;
	bool up;

	printk(NAME ": build %s, hold %d s\n", MP2_GPU_SCANOUT_BUILD,
	       CONFIG_MP2_GPU_SCANOUT_HOLD_S);
	up = run(dev) == 0;
	/* Whatever the chain shows (the GPU's frame, or on a failure after the
	 * chain came up, what it scans) stays up for the runner and the KVM. */
	st = stm32_ltdc_status(dev);
	if (!up && st != NULL && st->on) {
		up = true;
	}
	for (int s = 0; s < CONFIG_MP2_GPU_SCANOUT_HOLD_S; s++) {
		k_sleep(K_SECONDS(1));
		if (up) {
			uint32_t isr = 0;

			if (stm32_ltdc_wait_frame(dev, &isr) == 0) {
				good++;
			} else {
				bad++;
				printk(NAME ": hold: frame at %d s failed, isr 0x%x\n", s, isr);
			}
		}
	}
	if (up) {
		printk(NAME ": hold: %d frames ok, %d failed\n", good, bad);
	}
	return 0;
}
```
